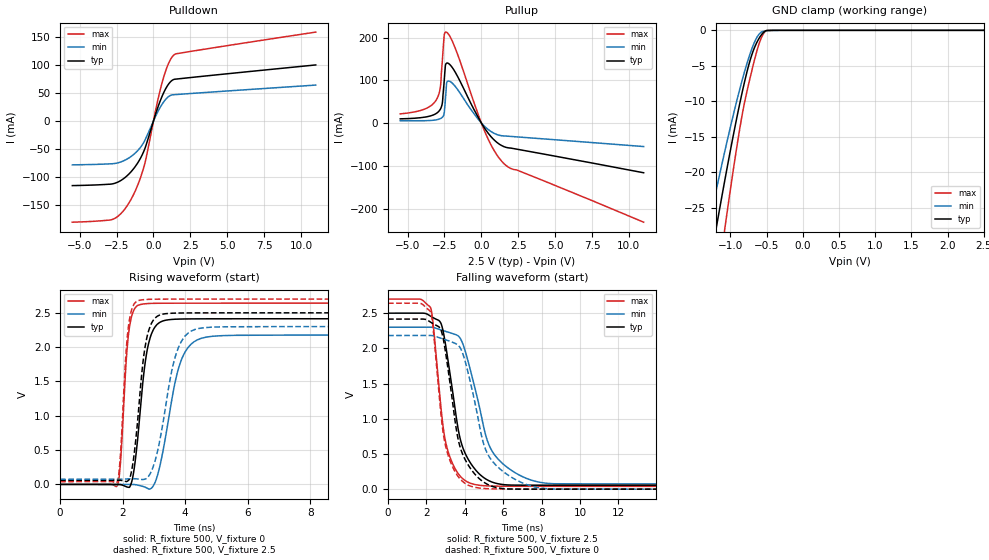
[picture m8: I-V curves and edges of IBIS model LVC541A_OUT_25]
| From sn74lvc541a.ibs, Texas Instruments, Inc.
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[Model]   LVC541A_OUT_25
Model_type  3-state
Enable   Active-Low
Vref =   0
Rref =   500
Cref =   30p
Vmeas =   1.25
| variable   typ   min   max
C_comp   5.04pF   4.76pF   5.55pF
| C_pullup   6.81pF   5.57pF   7.36pF
| C_pulldown   6.16pF   4.73pF   7.54pF
| C_tri-state   5.04pF   4.76pF   5.55pF
[Temperature Range]   40   100   -40
| Ambient temperature   25   85   -40
[Voltage range]   2.5   2.3   2.7
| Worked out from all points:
|   slope of the pulldown table from 0 to 0.375 V, typ, clamps not added: 12.5 ohm
|   slope of the pullup table from 0 to 0.375 V, typ, clamps not added: 18.9 ohm
|   GND clamp passes 1 mA (typ) near -0.60 V on its own axis
|   rising waveform, R_fixture 500, V_fixture 0: 20-80 % time 336ps typ, 554ps min, 210ps max; typ from 0 V to 2.41 V
|   falling waveform, R_fixture 500, V_fixture 2.5: 20-80 % time 940ps typ, 1.34ns min, 674ps max; typ from 2.5 V to 0.056 V
|   rising waveform, R_fixture 500, V_fixture 2.5: 20-80 % time 327ps typ, 547ps min, 205ps max; typ from 0.056 V to 2.5 V
|   falling waveform, R_fixture 500, V_fixture 0: 20-80 % time 905ps typ, 1.24ns min, 669ps max; typ from 2.42 V to 0 V
[GND Clamp]
| LVC541A_OUT_25
|   Voltage   I(typ)   I(min)   I(max)
-5.5V     -321.8mA   -262.7mA   -422.4mA
-1.3V     -34.01mA   -27.52mA   -44.83mA
-1.21V    -28.69mA   -23.18mA   -37.87mA
-1.165V   -26.08mA   -21.06mA   -34.45mA
-1.085V   -21.55mA   -17.38mA   -28.5mA
-1.05V    -19.61mA   -15.81mA   -25.96mA
-850mV    -9.306mA   -7.481mA   -12.61mA
-750mV    -5.01mA    -3.963mA   -7.634mA
-680mV    -2.747mA   -1.966mA   -4.667mA
-610mV    -1.222mA   -611.5uA   -2.071mA
-510mV    -54.34uA   -73.72uA   -75.86uA
2.5V      55.78pA    26.15nA    -5.421nA
[Pulldown]
| LVC541A_OUT_25
|   Voltage   I(typ)   I(min)   I(max)
-5.5V     -114.9mA   -77.95mA   -180mA
-2.795V   -111.9mA   -75.97mA   -175.2mA
-2.225V   -106mA     -72.86mA   -165.2mA
-1.655V   -94.03mA   -65.47mA   -145.5mA
-1.13V    -76.98mA   -54.28mA   -118.1mA
-690mV    -55.93mA   -39.51mA   -85.27mA
-505mV    -43.25mA   -29.95mA   -66.6mA
240mV     19.91mA    13.68mA    30.78mA
575mV     43.46mA    29.56mA    67.28mA
1.005V    65.07mA    43.12mA    101.5mA
1.405V    74.22mA    46.89mA    118.1mA
11V       99.84mA    64mA       158.3mA
[Pullup]
| LVC541A_OUT_25
|   Voltage   I(typ)   I(min)   I(max)
-5.5V     9.754mA    5.46mA     21.4mA
-3.84V    13.75mA    5.433mA    32.67mA
-3.03V    23.07mA    7.623mA    55.6mA
-2.77V    33.06mA    10.51mA    86.67mA
-2.645V   47.22mA    13.6mA     146mA
-2.54V    89.9mA     19.97mA    197.3mA
-2.44V    134mA      54.28mA    212.4mA
-2.365V   139.9mA    90.47mA    212.4mA
-1.88V    125mA      90.01mA    184.3mA
315mV     -16.97mA   -10.93mA   -26.75mA
1.53V     -55.26mA   -30.19mA   -94.95mA
11V       -116.4mA   -55.05mA   -232mA
[Ramp]
| LVC541A_OUT_25
| variable   typ   min   max
dV/dt_r   1.47/3.50E-10   1.35/5.72E-10   1.60/2.15E-10
dV/dt_f   1.47/9.42E-10   1.34/1.34E-09   1.60/6.79E-10
R_load = 500
[Rising Waveform]
| LVC541A_OUT_25
R_fixture =   500
C_fixture =   0
L_fixture =   0
V_fixture =   0
V_fixture_min = 0
V_fixture_max = 0
|   Time   V(typ)   V(min)   V(max)
0s        728.7pV    3.102nV    90.67nV
1.845ns   -504.3uV   -553.6uV   -5.501mV
1.935ns   -4.17mV    -558.5uV   344.7mV
2.21ns    -43.47mV   -151.7uV   2.264V
2.395ns   314.7mV    -3.383mV   2.568V
2.7ns     1.701V     -37.75mV   2.631V
3.115ns   2.335V     130.9mV    2.639V
3.92ns    2.41V      1.857V     2.64V
4.865ns   2.412V     2.158V     2.64V
50ns      2.413V     2.176V     2.64V
[Falling Waveform]
| LVC541A_OUT_25
R_fixture =   500
C_fixture =   0
L_fixture =   0
V_fixture =   2.5
V_fixture_min = 2.3
V_fixture_max = 2.7
|   Time   V(typ)   V(min)   V(max)
0s        2.5V       2.3V       2.7V
2.22ns    2.457V     2.3V       2.575V
2.745ns   2.362V     2.263V     1.188V
3.09ns    1.887V     2.233V     568.9mV
3.745ns   730.3mV    2.149V     189.2mV
4.57ns    269.4mV    1.387V     63.57mV
5.125ns   139mV      730mV      47.04mV
5.585ns   86.3mV     474.7mV    43.13mV
8.245ns   56.45mV    84.25mV    40.55mV
50ns      56.36mV    74.77mV    39.54mV
[Rising Waveform]
| LVC541A_OUT_25
R_fixture =   500
C_fixture =   0
L_fixture =   0
V_fixture =   2.5
V_fixture_min = 2.3
V_fixture_max = 2.7
|   Time   V(typ)   V(min)   V(max)
0s        56.34mV    74.7mV     39.53mV
1.83ns    59.33mV    75.34mV    41.41mV
1.92ns    59.92mV    75.82mV    373.1mV
2.195ns   62.52mV    81.4mV     2.334V
2.375ns   466.1mV    82.74mV    2.633V
2.655ns   1.796V     71.49mV    2.69V
2.985ns   2.395V     267mV      2.698V
3.785ns   2.496V     1.993V     2.699V
4.605ns   2.499V     2.283V     2.7V
50ns      2.5V       2.3V       2.7V
[Falling Waveform]
| LVC541A_OUT_25
R_fixture =   500
C_fixture =   0
L_fixture =   0
V_fixture =   0
V_fixture_min = 0
V_fixture_max = 0
|   Time   V(typ)   V(min)   V(max)
0s        2.416V     2.183V     2.641V
2.22ns    2.372V     2.183V     2.513V
2.735ns   2.274V     2.146V     1.124V
3.035ns   1.873V     2.119V     570.5mV
3.69ns    662.2mV    2.035V     166.1mV
4.57ns    198.7mV    1.171V     23.83mV
4.995ns   97.71mV    629.4mV    9.603mV
5.485ns   34.76mV    380.6mV    4.119mV
8.195ns   109.3uV    8.006mV    1.039mV
50ns      23.15uV    74.39uV    9.537uV
